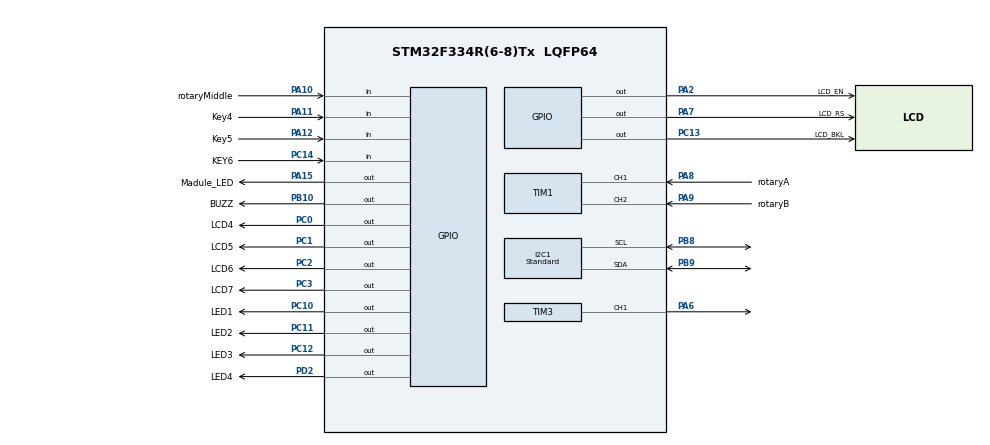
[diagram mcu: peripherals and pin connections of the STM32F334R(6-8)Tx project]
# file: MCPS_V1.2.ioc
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I2C1.I2C_Coeff_DF=5
I2C1.I2C_Speed_Mode=I2C_Standard
I2C1.Timing=0x00101827
Mcu.Family=STM32F3
Mcu.Name=STM32F334R(6-8)Tx
Mcu.Package=LQFP64
NVIC.PriorityGroup=NVIC_PRIORITYGROUP_4
NVIC.TIM3_IRQn=true\:0\:0\:false\:false\:true\:true\:true\:true
NVIC.TIM6_DAC1_IRQn=true\:15\:0\:false\:false\:true\:false\:true\:true
NVIC.TIM7_DAC2_IRQn=true\:0\:0\:false\:false\:true\:true\:true\:true
NVIC.TimeBase=TIM6_DAC1_IRQn
NVIC.TimeBaseIP=TIM6
PA10.GPIO_Label=rotaryMiddle
PA10.GPIO_PuPd=GPIO_PULLUP
PA10.Signal=GPIO_Input
PA11.GPIO_Label=Key4
PA11.GPIO_PuPd=GPIO_PULLUP
PA11.Signal=GPIO_Input
PA12.GPIO_Label=Key5
PA12.GPIO_PuPd=GPIO_PULLUP
PA12.Signal=GPIO_Input
PA13.Mode=Trace_Asynchronous_SW
PA13.Signal=SYS_JTMS-SWDIO
PA14.Mode=Trace_Asynchronous_SW
PA14.Signal=SYS_JTCK-SWCLK
PA15.GPIO_Label=Madule_LED
PA15.GPIO_PuPd=GPIO_PULLDOWN
PA15.Signal=GPIO_Output
PA2.GPIO_Label=LCD_EN
PA2.Signal=GPIO_Output
PA6.Signal=S_TIM3_CH1
PA7.GPIO_Label=LCD_RS
PA7.Signal=GPIO_Output
PA8.GPIO_Label=rotaryA
PA8.Signal=S_TIM1_CH1
PA9.GPIO_Label=rotaryB
PA9.Signal=S_TIM1_CH2
PB10.GPIO_Label=BUZZ
PB10.Signal=GPIO_Output
PB3.Mode=Trace_Asynchronous_SW
PB3.Signal=SYS_JTDO-TRACESWO
PB8.Mode=I2C
PB8.Signal=I2C1_SCL
PB9.Mode=I2C
PB9.Signal=I2C1_SDA
PC0.GPIO_Label=LCD4
PC0.Signal=GPIO_Output
PC1.GPIO_Label=LCD5
PC1.Signal=GPIO_Output
PC10.GPIO_Label=LED1
PC10.GPIO_PuPd=GPIO_PULLDOWN
PC10.Signal=GPIO_Output
PC11.GPIO_Label=LED2
PC11.GPIO_PuPd=GPIO_PULLDOWN
PC11.Signal=GPIO_Output
PC12.GPIO_Label=LED3
PC12.GPIO_PuPd=GPIO_PULLDOWN
PC12.Signal=GPIO_Output
PC13.GPIO_Label=LCD_BKL
PC13.GPIO_PuPd=GPIO_PULLDOWN
PC13.Signal=GPIO_Output
PC14\ /\ OSC32_IN.GPIO_Label=KEY6
PC14\ /\ OSC32_IN.GPIO_PuPd=GPIO_PULLUP
PC14\ /\ OSC32_IN.Signal=GPIO_Input
PC2.GPIO_Label=LCD6
PC2.Signal=GPIO_Output
PC3.GPIO_Label=LCD7
PC3.Signal=GPIO_Output
PD2.GPIO_Label=LED4
PD2.GPIO_PuPd=GPIO_PULLDOWN
PD2.Signal=GPIO_Output
PF0\ /\ OSC_IN.Mode=HSE-External-Oscillator
PF0\ /\ OSC_IN.Signal=RCC_OSC_IN
PF1\ /\ OSC_OUT.Mode=HSE-External-Oscillator
PF1\ /\ OSC_OUT.Signal=RCC_OSC_OUT
ProjectManager.HeapSize=0x200
ProjectManager.StackSize=0x400
ProjectManager.TargetToolchain=STM32CubeIDE
RCC.AHBFreq_Value=72000000
RCC.APB1CLKDivider=RCC_HCLK_DIV2
RCC.APB1Freq_Value=36000000
RCC.APB1TimFreq_Value=72000000
RCC.APB2Freq_Value=72000000
RCC.APB2TimFreq_Value=72000000
RCC.CortexFreq_Value=72000000
RCC.HCLKFreq_Value=72000000
RCC.HSE_VALUE=8000000
RCC.HSI_VALUE=8000000
RCC.LSE_VALUE=32768
RCC.PLLMUL=RCC_PLL_MUL9
RCC.PLLSourceVirtual=RCC_PLLSOURCE_HSE
RCC.SYSCLKFreq_VALUE=72000000
RCC.SYSCLKSourceVirtual=RCC_SYSCLKSOURCE_PLLCLK
SH.S_TIM1_CH1.0=TIM1_CH1,Encoder_Interface
SH.S_TIM1_CH2.0=TIM1_CH2,Encoder_Interface
SH.S_TIM3_CH1.0=TIM3_CH1,PWM Generation1 CH1
TIM1.AutoReloadPreload=TIM_AUTORELOAD_PRELOAD_DISABLE
TIM1.ClockDivision=TIM_CLOCKDIVISION_DIV1
TIM1.CounterMode=TIM_COUNTERMODE_UP
TIM1.EncoderMode=TIM_ENCODERMODE_TI12
TIM1.IC1Filter=5
TIM1.IC1Polarity=TIM_ICPOLARITY_FALLING
TIM1.IC1Prescaler=TIM_ICPSC_DIV1
TIM1.IC2Filter=5
TIM1.IC2Polarity=TIM_ICPOLARITY_FALLING
TIM1.IC2Prescaler=TIM_ICPSC_DIV1
TIM3.AutoReloadPreload=TIM_AUTORELOAD_PRELOAD_ENABLE
TIM3.Channel-PWM\ Generation1\ CH1=TIM_CHANNEL_1
TIM3.OCMode_PWM-PWM\ Generation1\ CH1=TIM_OCMODE_PWM1
TIM3.Period=1000-1
TIM3.Prescaler=7200-1
TIM3.Pulse-PWM\ Generation1\ CH1=0
TIM7.AutoReloadPreload=TIM_AUTORELOAD_PRELOAD_ENABLE
TIM7.Period=1000-1
TIM7.Prescaler=72-1
VP_SYS_VS_tim6.Mode=TIM6
VP_TIM3_VS_ClockSourceINT.Mode=Internal
VP_TIM7_VS_ClockSourceINT.Mode=Enable_Timer
board=custom

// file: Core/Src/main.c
/* USER CODE BEGIN Header */
/**
  ******************************************************************************
  * @file           : main.c
  * @brief          : Main program body
  ******************************************************************************
  * @attention
  *
  * Copyright (c) 2024 STMicroelectronics.
  * All rights reserved.
  *
  * This software is licensed under terms that can be found in the LICENSE file
  * in the root directory of this software component.
  * If no LICENSE file comes with this software, it is provided AS-IS.
  *
  ******************************************************************************
  */
/* USER CODE END Header */
#include "main.h"

/* USER CODE BEGIN Includes */
#include <stdint.h>
#include <stdio.h>
#include <string.h>
#include <stdlib.h>
#include <stdbool.h>
#include <math.h>
#include "LCD.h"
#include "button.h"
#include "Menu.h"
#include "eeprom.h"
/* USER CODE END Includes */

/* USER CODE BEGIN PD */
#define LED1_SET(x) HAL_GPIO_WritePin(GPIOC, GPIO_PIN_10, x)
#define LED2_SET(x) HAL_GPIO_WritePin(GPIOC, GPIO_PIN_11, x)
#define LED3_SET(x) HAL_GPIO_WritePin(GPIOC, GPIO_PIN_12, x)
#define LED4_SET(x) HAL_GPIO_WritePin(GPIOD, GPIO_PIN_2, x)
#define BUZZ_SET(x) HAL_GPIO_WritePin(GPIOB, GPIO_PIN_10, x)
#define LCD_BL_SET(x) HAL_GPIO_WritePin(GPIOC, GPIO_PIN_13, x)

#define BUZZ_NUM	0
#define BUZZ_DELAY	1

#define Freq_CLK    72000000          //72 MHz
#define PWM_PSC     7200-1            //7200
#define PWM_CLK     Freq_CLK/(PWM_PSC+1)  //72 KHz

/* USER CODE END PD */

I2C_HandleTypeDef hi2c1;

TIM_HandleTypeDef htim1;
TIM_HandleTypeDef htim3;
TIM_HandleTypeDef htim7;

/* USER CODE BEGIN PV */
volatile uint8_t /* buttons_release, */ buttonMask;
extern  volatile uint8_t buttons_release;

/* holds the current variable, according to "menu.h" */
uint8_t variable;
volatile uint8_t nextState;// volatile for avoid of optimizing for debug program

// uint8_t currentVariable;// holds the current variable number in order to table, according to "menu.h"
uint8_t cursorLine;		// holds the cursor line, according to "menu.h"

const char* statetext[4];	     // Holds 4 const char pointer to display in lines of LCD.
uint8_t elementType[4];	         // Holds 4 types for values of each variable that display in lines of LCD.
ValueStruct *pValues[4];         // Holds 4 ValueStruct pointer that point to a value for each variable.

uint8_t reWarning = 1;  //for exhibition of warnings and DisplayRunMenu.
uint8_t refreshLcd;		//for refreshing LCD.
uint16_t errorVar = 0x00, warningVar = 0x00;		// Each bit of this variable corresponds to an error state.
uint8_t  scnd,minute,updateTime;  //Update Vmax every few minutes
uint8_t tapChangerState = 0; // Holds output of TapChanger() that represents if TapChanger() completed his job or no.
uint8_t lcdBuffer[20];
uint8_t showARMWELD=true;  // ARMWELD animation in standBy.
static char count1=0;
/* Timing flags.*/
volatile bool	flag1s,
				fupdate1s,
				flag10us,
				flag100us,
				flag1ms,
				flag10ms,
				flag100ms,
				flagRefreshValue500ms,
				flag300ms,
				flagADC10ms,
				flcd1s,
				fSlope100ms,
				flcd10ms,
				flcd100ms,
				f2lcd100ms,
				fLcdError500ms,
				flcd500ms,
				flcd300ms,
				flagUpdatePWM,
				flagSetPWM,
				flagCountRamp,
				flagRotaryCW=false,
				flagRotaryCCW=false;

//rotary CW/CCW diagnose variables
int32_t encoder_counter = 0;
int32_t last_count = 0;
int32_t diff = 0;

float VariableRamp = 0.1;
float StepRamp = 0.0;
uint16_t CountRamp = 0;
float Time_ON;
float Frequency;

static char enterFunction = 1;

/* Array to determine that the buzzer need to toggle.
 * this array consists of buzzer[0] = number of toggles
 *					  and buzzer[1] = delay between each toggle.
 * this array must be initialized when need to buzzer toggled.
 */
volatile uint8_t buzzer[2];

//const STATE_NEXTVARIABLE *pStateNextVar[4];
//const STATE_VARIABLE *pStateVar[4];
//const MENU_STATE *pStateMenu[4];

STATE_NEXTVARIABLE StateNextVar[15];
STATE_VARIABLE StateVar[8];
MENU_STATE StateMenu[5];

/* variables for store compare value of TCC1(the PWM timer).*/
uint16_t compareValue;

/* Strings that will show in value column in LCD.*/
const char NON[]	= "None";
const char LOW[]	= "LOW ";
const char MED[] 	= "MED ";
const char HIGH[]   = "HIGH";

/* in EEPROM for save recent value before shut down.*/
ValueStruct /*EEMEM*/ EEValues_Alfa[ NUMBER_OF_VARIABLES+1 ] = {
//	VARIABLE_VALUE						STRING_NUMBER				DOWN_LIMIT					  UP_LIMIT
	{.pText = { 0, 0},					.strNum = 0,				.downLimit = 0,				  .upLimit = 0},                /* This line is added for correction of difference between variable numbers(one based) and values arrays(zero based).*/
	{.pText = {NON, LOW, MED, HIGH},	.strNum = VOL_LEVEL_LOW,    .downLimit = VOL_LEVEL_NONE,  .upLimit = VOL_LEVEL_HIGH},	/* Voltage Value*/
	{.fval = 10.0f,												    .downLimit = 0.5f,	          .upLimit = 30.9f},		    /* Frq*/
	{.fval = 2.0f,													.downLimit = 0.1f,			  .upLimit = 4.9f},			    /* time*/
	{.fval = 5.0,				                                    .downLimit = 0.5f,	          .upLimit = 4.9f},		        /* Ramp*/
	{.ival = 10,													.downLimit = 1,	 			  .upLimit = 20},			    /* Rythm on*/
	{.ival = 10,			  	                                    .downLimit = 1,	              .upLimit = 20},	     	    /* Rythm off*/
};
ValueStruct /*EEMEM*/ EEValues_Beta[ NUMBER_OF_VARIABLES+1 ] = {
//	VARIABLE_VALUE						STRING_NUMBER				DOWN_LIMIT					  UP_LIMIT
	{.pText = { 0, 0},					.strNum = 0,				.downLimit = 0,				  .upLimit = 0},                /* This line is added for correction of difference between variable numbers(one based) and values arrays(zero based).*/
	{.pText = {NON, LOW, MED, HIGH},	.strNum = VOL_LEVEL_LOW,    .downLimit = VOL_LEVEL_NONE,  .upLimit = VOL_LEVEL_HIGH},	/* Voltage Value*/
	{.fval = 10.0f,												    .downLimit = 0.1f,			  .upLimit = 30.9f},		    /* Frq*/
	{.fval = 5.0f,													.downLimit = 0.1f,			  .upLimit = 20.9f},			/* time*/
	{.ival = 2,				                                        .downLimit = 1,	              .upLimit = 10},		        /* Ramp*/
	{.ival = 10,													.downLimit = 1,	 			  .upLimit = 20},			    /* Rythm on*/
	{.ival = 10,			  	                                    .downLimit = 1,	              .upLimit = 20},	     	    /* Rythm off*/
};
ValueStruct /*EEMEM*/ EEValues_Teta[ NUMBER_OF_VARIABLES+1 ] = {
//	VARIABLE_VALUE						STRING_NUMBER				DOWN_LIMIT					  UP_LIMIT
	{.pText = { 0, 0},					.strNum = 0,				.downLimit = 0,				  .upLimit = 0},                /* This line is added for correction of difference between variable numbers(one based) and values arrays(zero based).*/
	{.pText = {NON, LOW, MED, HIGH},	.strNum = VOL_LEVEL_LOW,    .downLimit = VOL_LEVEL_NONE,  .upLimit = VOL_LEVEL_HIGH},	/* Voltage Value*/
	{.fval = 10.0f,												    .downLimit = 0.1f,			  .upLimit = 30.9f},		    /* Frq*/
	{.fval = 5.0f,													.downLimit = 0.1f,			  .upLimit = 20.9f},			/* time*/
	{.ival = 3,				                                        .downLimit = 1,	              .upLimit = 10},		        /* Ramp*/
	{.ival = 10,													.downLimit = 1,	 			  .upLimit = 20},			    /* Rythm on*/
	{.ival = 10,			  	                                    .downLimit = 1,	              .upLimit = 20},	     	    /* Rythm off*/
};
ValueStruct /*EEMEM*/ EEValues_Delta[ NUMBER_OF_VARIABLES+1 ] = {
//	VARIABLE_VALUE						STRING_NUMBER				DOWN_LIMIT					  UP_LIMIT
	{.pText = { 0, 0},					.strNum = 0,				.downLimit = 0,				  .upLimit = 0},                /* This line is added for correction of difference between variable numbers(one based) and values arrays(zero based).*/
	{.pText = {NON, LOW, MED, HIGH},	.strNum = VOL_LEVEL_LOW,    .downLimit = VOL_LEVEL_NONE,  .upLimit = VOL_LEVEL_HIGH},	/* Voltage Value*/
	{.fval = 10.0f,												    .downLimit = 0.1f,			  .upLimit = 30.9f},		    /* Frq*/
	{.fval = 5.0f,													.downLimit = 0.1f,			  .upLimit = 20.9f},			/* time*/
	{.ival = 4,				                                        .downLimit = 1,	              .upLimit = 10},		        /* Ramp*/
	{.ival = 10,													.downLimit = 1,	 			  .upLimit = 20},			    /* Rythm on*/
	{.ival = 10,			  	                                    .downLimit = 1,	              .upLimit = 20},	     	    /* Rythm off*/
};
ValueStruct /*EEMEM*/ EEValues_Gama[ NUMBER_OF_VARIABLES+1 ] = {
//	VARIABLE_VALUE						STRING_NUMBER				DOWN_LIMIT					  UP_LIMIT
	{.pText = { 0, 0},					.strNum = 0,				.downLimit = 0,				  .upLimit = 0},                /* This line is added for correction of difference between variable numbers(one based) and values arrays(zero based).*/
	{.pText = {NON, LOW, MED, HIGH},	.strNum = VOL_LEVEL_LOW,    .downLimit = VOL_LEVEL_NONE,  .upLimit = VOL_LEVEL_HIGH},	/* Voltage Value*/
	{.fval = 10.0f,												    .downLimit = 0.1f,			  .upLimit = 30.9f},		    /* Frq*/
	{.fval = 5.0f,													.downLimit = 0.1f,			  .upLimit = 20.9f},			/* time*/
	{.ival = 5,				                                        .downLimit = 1,	              .upLimit = 10},		        /* Ramp*/
	{.ival = 10,													.downLimit = 1,	 			  .upLimit = 20},			    /* Rythm on*/
	{.ival = 10,			  	                                    .downLimit = 1,	              .upLimit = 20},	     	    /* Rythm off*/
};
ValueStruct /*EEMEM*/ EEValues_Custom[ NUMBER_OF_VARIABLES+1 ] = {
//	VARIABLE_VALUE						STRING_NUMBER				DOWN_LIMIT					  UP_LIMIT
	{.pText = { 0, 0},					.strNum = 0,				.downLimit = 0,				  .upLimit = 0},                /* This line is added for correction of difference between variable numbers(one based) and values arrays(zero based).*/
	{.pText = {NON, LOW, MED, HIGH},	.strNum = VOL_LEVEL_LOW,    .downLimit = VOL_LEVEL_NONE,  .upLimit = VOL_LEVEL_HIGH},	/* Voltage Value*/
	{.fval = 10.0f,												    .downLimit = 0.1f,			  .upLimit = 30.9f},		    /* Frq*/
	{.fval = 5.0f,													.downLimit = 0.1f,			  .upLimit = 20.9f},			/* time*/
	{.ival = 6,				                                        .downLimit = 1,	              .upLimit = 10},		        /* Ramp*/
	{.ival = 10,													.downLimit = 1,	 			  .upLimit = 20},			    /* Rythm on*/
	{.ival = 10,			  	                                    .downLimit = 1,	              .upLimit = 20},	     	    /* Rythm off*/
};

/* USER CODE END PV */

void SystemClock_Config(void);
static void MX_GPIO_Init(void);
static void MX_TIM1_Init(void);
static void MX_TIM3_Init(void);
static void MX_TIM7_Init(void);
static void MX_I2C1_Init(void);

/* USER CODE BEGIN 0 */
char ContactUs( char input )
{
	static uint8_t enterFunction = 1;
	if ( enterFunction==1 )
	{
		LCD_Clear();
		LCD_Puts(1,LCD_LINE1, "Tel:021-66760674");
		LCD_Puts(1,LCD_LINE2, "Tel:09191143937");
		LCD_Puts(1,LCD_LINE3, "website");
		LCD_Puts(2,LCD_LINE4, "Nekoorad.com");
	}
	enterFunction=0;
	if (input == KEY_STANDBY)
	{
		enterFunction = 1;
		return ST_STANDBY;
	}
	else if (input==KEY_BACK)
	{
		refreshLcd = true;  // atention to DisplyRunMenu	function
		variable = ST_CHANGE_MENU;
		enterFunction = 1;
		return ST_MAIN_STATE;
	}

 	return ST_CONTACT_US;
}

static inline void ToggleBuzzer(volatile uint8_t buzzer[2])
{
	static uint8_t number = 0;
	static uint8_t count10ms = 0;

	if ( count10ms == 0 ) /* buzzer[BUZZ_DELAY]/10 = number of count10ms */
	{
		if ( number < buzzer[BUZZ_NUM]*2)	/* buzzer[BUZZ_NUM]*2 = number of (buzzer_off + buzzer_on) BUT
											   buzzer[BUZZ_NUM]	  = number of buzzer_on */
		{
			//BUZZ_TGL;
			HAL_GPIO_TogglePin(GPIOB,GPIO_PIN_10);
			number++;
			count10ms = (buzzer[BUZZ_DELAY]/10);
		}
		else
		{
			HAL_GPIO_WritePin(GPIOB, GPIO_PIN_10, GPIO_PIN_RESET);
			number = 0;
			count10ms = 0;
			buzzer[BUZZ_NUM] = 0;
			buzzer[BUZZ_DELAY] = 0;
		}
	}

	if (buzzer[BUZZ_NUM])
	{
		count10ms--;
	}
}

// It draws lines in lcd.
void HLine (char x, char y, uint8_t KindofLine,char mem8)
{
	 LCD_CreateChar(mem8,line[KindofLine]);
	 LCD_CursorSet(x,y);
	 LCD_Data(mem8);
}

// It shows weld animation.
void WeldDisplay(void)
{
	 uint8_t ArcNumber=0;
	 while (ArcNumber<5)
	 {
		 if (flcd100ms)
		 {
			 LCD_CreateChar(LCD_Mem7,arcSymbol[ArcNumber]);
			 LCD_CursorSet(10,LCD_LINE1);
			 LCD_Data(LCD_Mem7);
			 ArcNumber++;
			 flcd100ms=false;
		 }

	 }
}

/*! \brief This function displays LCD texts.
 *
 *	This function displays LCD texts each 500 mS or if when a change in data occurs.
 *
 */
static inline void DisplayRunMenu(void)
{
	char lcdBuffer[12];

	if ( flagRefreshValue500ms == true )
	{
		for ( uint8_t n = 0 ; n < 4 ; n++)
		{
			/* Display values */
			switch(elementType[n])
			{
				case ET_FLT:	sprintf(lcdBuffer, "%-4.1f", pValues[n]->fval);
								LCD_Puts(14,n, lcdBuffer);
								break;

				case ET_INT:
					            sprintf(lcdBuffer, "%-3d", pValues[n]->ival);
								LCD_Puts(14,n, lcdBuffer);
								break;

				case ET_FSTR:
					            LCD_Puts(14,n, pValues[n]->pText[pValues[n]->strNum]);
								break;

				/*case ET_ULNG:	sprintf(lcdBuffer, "%lu", pValues[n]->ulval);
								LCD_Puts(14,n, lcdBuffer);
								break;*/

			}
			flagRefreshValue500ms = false;
		}
	}

	// Plain menu text
	if (refreshLcd == true)
	{
		LCD_Clear();
		LCD_CursorSet(0,cursorLine);
		LCD_Data(0x7E);  //  "->" character

		for ( uint8_t n = 0 ; n < 4 ; n++)
		{
			// refresh lcd.
			LCD_Puts(1,n, statetext[n]);

			/* Display values */
			switch(elementType[n])
			{
				case ET_FLT:	sprintf(lcdBuffer, "%-4.1f", pValues[n]->fval);
								LCD_Puts(14,n, lcdBuffer);
								break;

				case ET_INT:	sprintf(lcdBuffer, "%-3d", pValues[n]->ival);
								LCD_Puts(14,n, lcdBuffer);
								break;

				case ET_FSTR:	LCD_Puts(14,n, pValues[n]->pText[pValues[n]->strNum]);
								break;

				/*case ET_ULNG:	sprintf(lcdBuffer, "%lu", pValues[n]->ulval);
				                LCD_Puts(14,n, lcdBuffer);
								break;*/

			}
		}

		refreshLcd = false;
	}
}

 /*! \brief This function shifts between the different variables.
  *
  * \param state			Current state.
  * \param stimuli		Button input.
  * \param cursorLine	Pointer for save next cursor line to it.
  *
  * \return nextVariable    next state according to the current state and button input.
  */
unsigned char VariableMachine(unsigned char stimuli)
 {
 	unsigned char nextVariable = variable;    // Default stay in same state
 	unsigned char i, j;
 	uint8_t cursorBuffer;

 	for (i=0; ( j=StateNextVar[i].variable) ; i++ )
 	{
 		if ( j == variable &&
 				StateNextVar[i].input== stimuli)

 			{
 			nextVariable = StateNextVar[i].nextVariable;

 			cursorBuffer = StateNextVar[i].cursorLine;

 			if ( cursorBuffer != LCD_LINE_RECENT )
 			cursorLine = cursorBuffer;

 			break;
 		}
 	}

 	return nextVariable;
 }

char StandBy(char input)
{
	static char x1_dot=0/*,count1=0*/;

	static uint8_t	enterFunction = 1;

	if ( enterFunction==1 )
	{
		buzzer[BUZZ_NUM] = 1;
		buzzer[BUZZ_DELAY] = 255;
		enterFunction =0;
	}

	if(reWarning == 0 || warningVar == 0)	//need for show after some second warning occured or not any warnings.
	{
			if(f2lcd100ms)
			{

				// display animation of medinalTeb first time when turn on after that show "STANDBY"
				if (x1_dot>=6 && count1<19)
				{
					count1++;
					if(count1<=5)
					{
						HLine(9+count1,LCD_LINE3,LCD_UpLine,LCD_Mem0);
						HLine(10-count1,LCD_LINE3,LCD_UpLine,LCD_Mem0);
					}
					else if (count1==6)
					{
						HLine(9+count1,LCD_LINE2,LCD_RightLine,LCD_Mem1);
						HLine(10-count1,LCD_LINE2,LCD_LeftLine,LCD_Mem2);
					}
					else if (count1<=11)
					{
						HLine(21-count1,LCD_LINE1,LCD_DownLine,LCD_Mem3);
						HLine(count1-2,LCD_LINE1,LCD_DownLine,LCD_Mem3);
					}
					else if (count1<=12)
					WeldDisplay();

				}
				else if (count1==19)
				{
					LCD_Clear();
					LCD_Puts(7,LCD_LINE2, "STANDBY");
					showARMWELD=false;
//					WELD_FAN_OFF;   // turn off fan when ARMWELD animation finish.
					count1++;  // it runs just first time this (if).
				}
				f2lcd100ms=false;
			}

			if (flcd500ms )
			{
				if (showARMWELD==true)
				{
//					WELD_FAN_ON;   // turn on fan when the device  is turning on.
					if(x1_dot<6)
					{
						LCD_Clear();
						x1_dot++;
					}
					LCD_Puts(x1_dot,1, "NEKOO");
					LCD_Puts((17-x1_dot),1, "RAD");
				}

				flcd500ms= false;
			}

	}
 	if ( input == KEY_STANDBY )
	{
		enterFunction = 1;
		showARMWELD=false;  // because of don't show ARMWELD when come from RunMeno.
 		return ST_MAIN_STATE;
	}

 	return ST_STANDBY;
}

char MainMenu(char input)
{
	uint8_t j;
	static uint8_t nextVariable = VA_FIRST_VARIABLE;
	static uint8_t cursor_variable;
	static uint8_t adjustState = ST_MAIN_STATE;
	static uint8_t cursor_main=0;
	//static char enterFunction = 1;

	/*if (values[VA_WAVE_TYPE].strNum == VOL_LEVEL_NONE )
	{

	}*/

	if ( nextVariable != variable )
	{
		variable = nextVariable;
		refreshLcd = true;  // atention to DisplyRunMenu	function
		for ( uint8_t currentVariable = 0; (j=StateVar[currentVariable].variable); currentVariable++ )
		{
			/* macro to determine which variable must be displayed in first line in LCD. */
			#define FIRST_LINE_VAR		currentVariable-cursorLine

			if ( j == variable )
			{
				adjustState = StateVar[currentVariable].adjustState;
				for ( uint8_t n = 0 ; n<4 ; n++ )
				{
					statetext[n]  = StateVar[FIRST_LINE_VAR +n].pText;
					elementType[n] = StateVar[FIRST_LINE_VAR +n].elementType;
					pValues[n] = (ValueStruct*)StateVar[FIRST_LINE_VAR +n].pValueStruct;
				}
				break;
			}
		}
		if( reWarning == 0 || warningVar == 0 )	//need for show after some second warning occured or not any warnings.
			DisplayRunMenu();
	}
	if ( input == KEY_STANDBY && StateVar[cursorLine].IndexMenu == First_Menu )
	{
		count1=19;
		nextVariable = VA_FIRST_VARIABLE;
		cursorLine = LCD_LINE1;
		variable=VA_SECOND_VARIABLE;
		return ST_STANDBY;
	}
	else if ( input == KEY_ACCEPT )
	{
		if( StateVar[cursorLine].IndexMenu == First_Menu )
		{
			if( adjustState == ST_CONTACT_US )
				return adjustState;
			else
			{
				if( variable==MAIN_Alfa )
				{
					memcpy(&StateVar, &stateVariable_Alfa, sizeof(stateVariable_Alfa));
					Frequency = values_Alfa[2].fval;
					Time_ON = values_Alfa[3].fval;
					StepRamp = (values_Alfa[4].fval * 1000)/1.000;
				}
				else if( variable==MAIN_Beta )
					memcpy(&StateVar, &stateVariable_Beta, sizeof(stateVariable_Beta));
				else if( variable==MAIN_Teta )
					memcpy(&StateVar, &stateVariable_Teta, sizeof(stateVariable_Teta));
				else if( variable==MAIN_Delta )
					memcpy(&StateVar, &stateVariable_Delta, sizeof(stateVariable_Delta));
				else if( variable==MAIN_Gama )
					memcpy(&StateVar, &stateVariable_Gama, sizeof(stateVariable_Gama));
				else if( variable==MAIN_Custom )
					memcpy(&StateVar, &stateVariable_Custom, sizeof(stateVariable_Custom));

				memcpy(&StateNextVar, &state_nextVariable, sizeof(state_nextVariable));
				//memcpy(&StateVar, &stateVariable, sizeof(stateVariable));
				memcpy(&StateMenu, &menuState, sizeof(menuState));
				nextVariable = VA_EIGHTH_VARIABLE;
				cursor_main = cursorLine;
				cursorLine = LCD_LINE1;
				cursor_variable = variable;
				return (adjustState);
			}
		}
		else
		{
			return adjustState;
		}
	}
	else if ( input == KEY_BACK )
	{
		memcpy(&StateNextVar, &main_state_nextVariable, sizeof(main_state_nextVariable));
		memcpy(&StateVar, &main_stateVariable, sizeof(main_stateVariable));
		memcpy(&StateMenu, &main_menuState, sizeof(main_menuState));
		cursorLine = cursor_main;
		//nextVariable = cursorLine+1;
	    nextVariable = cursor_variable;
		return ST_MAIN_STATE;
	}
	else if ( input == KEY_START )
	{
		if( StateVar[cursorLine].IndexMenu != First_Menu )
		{
			// Act like Start Buttom
			if ( enterFunction == 1 )  // If it is the first time the button is pushed and the variables of frequency and time-on(duty cycle) are set
			{
				HAL_TIM_PWM_Start_IT(&htim3, TIM_CHANNEL_1);
				LED1_SET(1);
				flagUpdatePWM = true; // set variable of frequency and duty cycle of PWM on TIM3 Intrupt
				enterFunction = 0;
			}
			//Act like Stop Buttom
			else
			{
				HAL_TIM_PWM_Stop_IT(&htim3, TIM_CHANNEL_1);
				LED1_SET(0);
				enterFunction = 1;
			}
		}
		return ST_MAIN_STATE;
	}
	else if ( input != KEY_NULL )
	{
		// Plain menu, clock the state machine
		nextVariable = VariableMachine(input);
	}

	return ST_MAIN_STATE;
}

/*! \brief This function adjusts integer values.
 *
 * \param input			Buttons state after debouncig.
 *
 * \return nextState    next state according to the current state and button input.
 */
char IntAdjust(char input)
{
	int16_t valueIA;
    uint8_t j=1;
	static char enterFunction = 1;

	char lcdBufferIA[15];

	if ( enterFunction==1 )
	{
		//pValues[cursorLine]->ival=values[cursorLine+1].ival;
		TIM1->CNT = (pValues[cursorLine]->ival)*ROTARY_SPC;       //The amount of variable(that cursor point it)  return to CNT of timer or QDEC .
		enterFunction = 0;
	}
	LCD_CreateChar(0,updownCharacter);// "<>" character
	LCD_CursorSet(13,cursorLine);
	LCD_Data(0);  //  "<>" character

	/* Check timer valueIA to be in range. */
	valueIA = (int16_t)TIM1->CNT/ROTARY_SPC;// int16_t to avoid of roll over timer valueIA from bottom to top.

	if( valueIA > (int16_t)pValues[cursorLine]->upLimit )
		TIM1->CNT = (int16_t)pValues[cursorLine]->upLimit*ROTARY_SPC;

	else if ( valueIA < (int16_t)pValues[cursorLine]->downLimit )
		TIM1->CNT = (int16_t)pValues[cursorLine]->downLimit*ROTARY_SPC;

	sprintf(lcdBufferIA,"%-3d", TIM1->CNT/ROTARY_SPC);
	LCD_Puts(14,cursorLine, lcdBufferIA);

	switch (input)
	{
		case KEY_ACCEPT:
			pValues[cursorLine]->ival = TIM1->CNT/ROTARY_SPC;

			if( StateVar[cursorLine].IndexMenu == Second_Menu_1 ) //if we are in sub menu Alfa:
			{
				for(uint8_t i=1; i<=NUMBER_OF_VARIABLES; i++)
				{
					EEPROM_Write(i,0, (uint8_t*)&values_Alfa[i], sizeof(ValueStruct));
				}
			}
			else if(StateVar[cursorLine].IndexMenu==Second_Menu_2)
			{
				for(uint8_t i=(1+(1*NUMBER_OF_VARIABLES)); i<=(2*NUMBER_OF_VARIABLES); i++)
				{
				    EEPROM_Write(i,0, (uint8_t*)&values_Beta[j], sizeof(ValueStruct));
				    j++;
					if(j==7)
						j=1;
				}
			}
			else if(StateVar[cursorLine].IndexMenu==Second_Menu_3)
			{
				for(uint8_t i=(1+(2*NUMBER_OF_VARIABLES)); i<=(3*NUMBER_OF_VARIABLES); i++)
				{
					EEPROM_Write(i,0, (uint8_t*)&values_Teta[j], sizeof(ValueStruct));
					j++;
					if(j==7)
						j=1;
				}
			}
			else if(StateVar[cursorLine].IndexMenu==Second_Menu_4)
			{
				for(uint8_t i=(1+(3*NUMBER_OF_VARIABLES)); i<=(4*NUMBER_OF_VARIABLES); i++)
				{
					EEPROM_Write(i,0, (uint8_t*)&values_Delta[j], sizeof(ValueStruct));
					j++;
					if(j==7)
						j=1;
				}
			}
			else if(StateVar[cursorLine].IndexMenu==Second_Menu_5)
			{
				for(uint8_t i=(1+(4*NUMBER_OF_VARIABLES)); i<=(5*NUMBER_OF_VARIABLES); i++)
				{
					EEPROM_Write(i,0, (uint8_t*)&values_Gama[j], sizeof(ValueStruct));
					j++;
					if(j==7)
						j=1;
				}
			}
			else if(StateVar[cursorLine].IndexMenu==Second_Menu_6)
			{
				for(uint8_t i=(1+(5*NUMBER_OF_VARIABLES)); i<=(6*NUMBER_OF_VARIABLES); i++)
				{
					EEPROM_Write(i,0, (uint8_t*)&values_Custom[j], sizeof(ValueStruct));
					j++;
					if(j==7)
						j=1;
				}
			}
			enterFunction = 1;
			LCD_CursorSet(13,cursorLine);
			LCD_Data(0x20);  //  "blank" character
			return ST_MAIN_STATE;

		/*case KEY_BACK:
			enterFunction = 1;
			LCD_CursorSet(13,cursorLine);
			LCD_Data(0x20);  //  "blank" character
			return ST_MAIN_STATE;*/

		case KEY_STANDBY:
			enterFunction = 1;
			LCD_CursorSet(13,cursorLine);
			LCD_Data(0x20);  //  "blank" character
			return ST_STANDBY;
	}
	return ST_INT_ADJUST;
}

/*! \brief This function adjusts string values.
 *
 * \param input			Buttons state after debouncig.
 *
 * \return nextState    next state according to the current state and button input.
 */
char StringChange(char input)
{
	static char enterFunction = 1;
	static int8_t strNumTemp;
	if ( enterFunction==1 )
	{
		strNumTemp = pValues[cursorLine]->strNum;
		enterFunction = 0;
	}

	switch (input)
	{
		case ROTARY_CW_DIR:		strNumTemp ++;	break;

		case ROTARY_CCW_DIR:	strNumTemp --;	break;

		case KEY_ACCEPT:

			// store the temporary adjusted value to the global variable
			pValues[cursorLine]->strNum = strNumTemp;

			if(StateVar[cursorLine].IndexMenu==Second_Menu_1)
			{
				if ( variable == VA_VOLTAGE /*&& pValues[cursorLine]->strNum==VOL_LEVEL_LOW*/ )
				{
					//LED2_SET(1);
				}
				EEPROM_Write(1,0, (uint8_t*)&values_Alfa[1], sizeof(ValueStruct));
			}

			else if(StateVar[cursorLine].IndexMenu==Second_Menu_2)
			{
				EEPROM_Write((1+(1*NUMBER_OF_VARIABLES)),0, (uint8_t*)&values_Beta[1], sizeof(ValueStruct));
			}
			else if(StateVar[cursorLine].IndexMenu==Second_Menu_3)
			{
                EEPROM_Write((1+(2*NUMBER_OF_VARIABLES)),0, (uint8_t*)&values_Teta[1], sizeof(ValueStruct));
			}
			else if(StateVar[cursorLine].IndexMenu==Second_Menu_4)
			{
				EEPROM_Write((1+(3*NUMBER_OF_VARIABLES)),0, (uint8_t*)&values_Delta[1], sizeof(ValueStruct));
			}
			else if(StateVar[cursorLine].IndexMenu==Second_Menu_5)
			{
				EEPROM_Write((1+(4*NUMBER_OF_VARIABLES)),0, (uint8_t*)&values_Gama[1], sizeof(ValueStruct));
			}
			else if(StateVar[cursorLine].IndexMenu==Second_Menu_6)
			{
				EEPROM_Write((1+(5*NUMBER_OF_VARIABLES)),0, (uint8_t*)&values_Custom[1], sizeof(ValueStruct));
			}
			enterFunction = 1;
			LCD_CursorSet(13,cursorLine);
			LCD_Data(0x20);  //  "blank" character

			return ST_MAIN_STATE;

		/*case KEY_BACK:
			enterFunction = 1;
			LCD_CursorSet(13,cursorLine);
			LCD_Data(0x20);  //  "blank" character
			return ST_MAIN_STATE;*/

		case KEY_STANDBY:
			enterFunction = 1;
			LCD_CursorSet(13,cursorLine);
			LCD_Data(0x20);  //  "blank" character
			return ST_STANDBY;
	}

	LCD_CreateChar(0,updownCharacter);// "<>" character
	LCD_CursorSet(13,cursorLine);
	LCD_Data(0);  //  "<>" character

	if( strNumTemp > pValues[cursorLine]->upLimit )
	{
		strNumTemp = pValues[cursorLine]->upLimit;
	}
	else if ( strNumTemp < pValues[cursorLine]->downLimit )
	{
		strNumTemp = pValues[cursorLine]->downLimit;
	}
	LCD_Puts(14,cursorLine,pValues[cursorLine]->pText[strNumTemp]);

	return ST_STR_CHANGE;
}

/*! \brief This function adjusts float values.
 *
 * \param input			Buttons state after debouncig.
 *
 * \return nextState    next state according to the current state and button input.
 */
char FloatAdjust(char input)
{
    #define INTEGER_PART	0
    #define DECIMAL_PART	1
	static uint8_t mode = INTEGER_PART;
	static int FloatTemp[2];
	static char enterFunction = 1;
	uint8_t j=1;
	char lcdBufferIA[15];
    //int16_t UpLimit_DEC;
	int16_t DownLimit_DEC;

	if ( enterFunction==1 )
	{
		//FloatTemp[DECIMAL_PART] = modf(pValues[cursorLine]->fval, &FloatTemp[INTEGER_PART]);
		FloatTemp[INTEGER_PART] = (int) pValues[cursorLine]->fval;
		FloatTemp[DECIMAL_PART] = round((pValues[cursorLine]->fval - FloatTemp[INTEGER_PART])*10);

		//UpLimit_DEC = round((pValues[cursorLine]->upLimit - (int)pValues[cursorLine]->upLimit)*10);
		DownLimit_DEC = round((pValues[cursorLine]->downLimit - (int)pValues[cursorLine]->downLimit)*10);

		if (mode == INTEGER_PART)
		{
			TIM1->CNT = (int16_t)(FloatTemp[INTEGER_PART])*ROTARY_SPC;
		}
		/*else if ( mode == DECIMAL_PART)
		{
			TIM1->CNT = ((int16_t)(FloatTemp[DECIMAL_PART])*10)*ROTARY_SPC;
		}*/
		enterFunction = 0;
	}

	if (mode == INTEGER_PART)
	{
		FloatTemp[INTEGER_PART] = (int16_t)TIM1->CNT/ROTARY_SPC;
		if( FloatTemp[INTEGER_PART] > (int16_t)pValues[cursorLine]->upLimit )
			TIM1->CNT = (int16_t)pValues[cursorLine]->upLimit*ROTARY_SPC;

		else if ( FloatTemp[INTEGER_PART] < (int16_t)pValues[cursorLine]->downLimit )
			TIM1->CNT = (int16_t)pValues[cursorLine]->downLimit*ROTARY_SPC;

		LCD_CreateChar(0,updownCharacter);// "<>" character

		LCD_CursorSet(19,cursorLine);
		LCD_Data(0x20);  //  "blank" character

		LCD_CursorSet(13,cursorLine);
		LCD_Data(0);  //  "<>" character
	}
	else if (mode == DECIMAL_PART)
	{
		FloatTemp[DECIMAL_PART] = (int16_t)TIM1->CNT/ROTARY_SPC;
		if( FloatTemp[DECIMAL_PART] > 9 )
			TIM1->CNT = 9*ROTARY_SPC;

		else if ( FloatTemp[DECIMAL_PART] < 0 )
			TIM1->CNT = 0*ROTARY_SPC;

        //The value of the float number should not be below downlimit of the value
		else if ( FloatTemp[DECIMAL_PART] == 0 && FloatTemp[INTEGER_PART]==0 )
			TIM1->CNT = DownLimit_DEC*ROTARY_SPC;

		LCD_CreateChar(0,updownCharacter);// "<>" character

		LCD_CursorSet(19,cursorLine);
		LCD_Data(0);  //  "<>" character

		LCD_CursorSet(13,cursorLine);
		LCD_Data(0x20);  //  "blank" character
	}

	// store the temporary adjusted value to the global variable
	pValues[cursorLine]->fval = (FloatTemp[INTEGER_PART] + (FloatTemp[DECIMAL_PART]/10.0));
	sprintf(lcdBufferIA,"%-4.1f", pValues[cursorLine]->fval);
	LCD_Puts(14,cursorLine, lcdBufferIA);

	switch (input)
	{
		case ROTARY_CW_DIR:  FloatTemp[mode] ++;   break;

		case ROTARY_CCW_DIR:  FloatTemp[mode] --;	break;

		case KEY_ACCEPT:

			pValues[cursorLine]->fval = (FloatTemp[INTEGER_PART] + (FloatTemp[DECIMAL_PART]/10.0));
			if (mode == INTEGER_PART)
			{
				mode++;
				TIM1->CNT = (int16_t)(FloatTemp[DECIMAL_PART])*ROTARY_SPC;
				break;
			}
			else if (mode == DECIMAL_PART)
			{
				if ( variable == VA_FREQUENCY )
				{
					Frequency = (pValues[cursorLine]->fval)/1.000;
				}
				else if ( variable == VA_TIME )
				{
					Time_ON = (pValues[cursorLine]->fval/1.000);
				}
				else if ( variable == VA_RAMP /*&& pValues[cursorLine]->ival==3*/ )
				{
					StepRamp = (pValues[cursorLine]->fval * 1000)/1.000;
				}

				if ( enterFunction == 0 && variable != VA_RAMP) // change variables in the RUN time
					flagUpdatePWM = true;

				if(StateVar[cursorLine].IndexMenu==Second_Menu_1)
				{
					for(uint8_t i=1; i<=NUMBER_OF_VARIABLES; i++)
					{
						EEPROM_Write(i,0, (uint8_t*)&values_Alfa[i], sizeof(ValueStruct));
					}
				}
				else if(StateVar[cursorLine].IndexMenu==Second_Menu_2)
				{
					for(uint8_t i=(1+(1*NUMBER_OF_VARIABLES)); i<=(2*NUMBER_OF_VARIABLES); i++)
					{
					    EEPROM_Write(i,0, (uint8_t*)&values_Beta[j], sizeof(ValueStruct));
					    j++;
						if(j==7)
							j=1;
					}
				}
				else if(StateVar[cursorLine].IndexMenu==Second_Menu_3)
				{
					for(uint8_t i=(1+(2*NUMBER_OF_VARIABLES)); i<=(3*NUMBER_OF_VARIABLES); i++)
					{
						EEPROM_Write(i,0, (uint8_t*)&values_Teta[j], sizeof(ValueStruct));
						j++;
						if(j==7)
							j=1;
					}
				}
				else if(StateVar[cursorLine].IndexMenu==Second_Menu_4)
				{
					for(uint8_t i=(1+(3*NUMBER_OF_VARIABLES)); i<=(4*NUMBER_OF_VARIABLES); i++)
					{
						EEPROM_Write(i,0, (uint8_t*)&values_Delta[j], sizeof(ValueStruct));
						j++;
						if(j==7)
							j=1;
					}
				}
				else if(StateVar[cursorLine].IndexMenu==Second_Menu_5)
				{
					for(uint8_t i=(1+(4*NUMBER_OF_VARIABLES)); i<=(5*NUMBER_OF_VARIABLES); i++)
					{
						EEPROM_Write(i,0, (uint8_t*)&values_Gama[j], sizeof(ValueStruct));
						j++;
						if(j==7)
							j=1;
					}
				}
				else if(StateVar[cursorLine].IndexMenu==Second_Menu_6)
				{
					for(uint8_t i=(1+(5*NUMBER_OF_VARIABLES)); i<=(6*NUMBER_OF_VARIABLES); i++)
					{
						EEPROM_Write(i,0, (uint8_t*)&values_Custom[j], sizeof(ValueStruct));
						j++;
						if(j==7)
							j=1;
					}
				}

				mode = INTEGER_PART;
				enterFunction = 1;
				LCD_CursorSet(19,cursorLine);
				LCD_Data(0x20);  //  "blank" character
				return ST_MAIN_STATE;
			}

		/*case KEY_BACK:
			if (mode == DECIMAL_PART)
			{
				mode=INTEGER_PART;
				TIM1->CNT = (int16_t)(FloatTemp[INTEGER_PART])*ROTARY_SPC;
				break;
			}

			else
			{
				enterFunction = 1;
				LCD_CursorSet(13,cursorLine);
				LCD_Data(0x20);  //  "blank" character
				return ST_MAIN_STATE;
			}*/

		case KEY_STANDBY:
			enterFunction = 1;
			LCD_CursorSet(13,cursorLine);
			LCD_Data(0x20);  //  "blank" character
			return ST_STANDBY;
	}

	return ST_FLT_ADJUST;
}

//Write initial values  in external eeprom.
void  ValuInit_Write_EE(void)
{
	uint8_t j=1;
	for(uint8_t i=1; i<=NUMBER_OF_VARIABLES; i++)
	{
		EEPROM_Write(i,0, (uint8_t*)&EEValues_Alfa[i], sizeof(ValueStruct));
	}
	for(uint8_t i=(1+(1*NUMBER_OF_VARIABLES)); i<=(2*NUMBER_OF_VARIABLES); i++)
	{
		EEPROM_Write(i,0, (uint8_t*)&EEValues_Beta[j], sizeof(ValueStruct));
		j++;
		if(j==7)
			j=1;
	}
	for(uint8_t i=(1+(2*NUMBER_OF_VARIABLES)); i<=(3*NUMBER_OF_VARIABLES); i++)
	{
		EEPROM_Write(i,0, (uint8_t*)&EEValues_Teta[j], sizeof(ValueStruct));
		j++;
		if(j==7)
			j=1;
	}
	for(uint8_t i=(1+(3*NUMBER_OF_VARIABLES)); i<=(4*NUMBER_OF_VARIABLES); i++)
	{
		EEPROM_Write(i,0, (uint8_t*)&EEValues_Delta[j], sizeof(ValueStruct));
		j++;
		if(j==7)
			j=1;
	}
	for(uint8_t i=(1+(4*NUMBER_OF_VARIABLES)); i<=(5*NUMBER_OF_VARIABLES); i++)
	{
		EEPROM_Write(i,0, (uint8_t*)&EEValues_Gama[j], sizeof(ValueStruct));
		j++;
		if(j==7)
			j=1;
	}
	for(uint8_t i=(1+(5*NUMBER_OF_VARIABLES)); i<=(6*NUMBER_OF_VARIABLES); i++)
	{
		EEPROM_Write(i,0, (uint8_t*)&EEValues_Custom[j], sizeof(ValueStruct));
		j++;
		if(j==7)
			j=1;
	}
}

//Read initial values from external eeprom.
void ValuInit_Read_EE(void)
{
	uint8_t j=1;
	for(uint8_t i=1; i<=NUMBER_OF_VARIABLES; i++)
	{
		EEPROM_Read(i,0, (uint8_t*)&values_Alfa[i], sizeof(ValueStruct));
	}
	for(uint8_t i=(1+(1*NUMBER_OF_VARIABLES)); i<=(2*NUMBER_OF_VARIABLES); i++)
	{
		EEPROM_Read(i,0, (uint8_t*)&values_Beta[j], sizeof(ValueStruct));
		j++;
		if(j==7)
			j=1;
	}
	for(uint8_t i=(1+(2*NUMBER_OF_VARIABLES)); i<=(3*NUMBER_OF_VARIABLES); i++)
	{
		EEPROM_Read(i,0, (uint8_t*)&values_Teta[j], sizeof(ValueStruct));
		j++;
		if(j==7)
			j=1;
	}
	for(uint8_t i=(1+(3*NUMBER_OF_VARIABLES)); i<=(4*NUMBER_OF_VARIABLES); i++)
	{
		EEPROM_Read(i,0, (uint8_t*)&values_Delta[j], sizeof(ValueStruct));
		j++;
		if(j==7)
			j=1;
	}
	for(uint8_t i=(1+(4*NUMBER_OF_VARIABLES)); i<=(5*NUMBER_OF_VARIABLES); i++)
	{
		EEPROM_Read(i,0, (uint8_t*)&values_Gama[j], sizeof(ValueStruct));
		j++;
		if(j==7)
			j=1;
	}
	for(uint8_t i=(1+(5*NUMBER_OF_VARIABLES)); i<=(6*NUMBER_OF_VARIABLES); i++)
	{
		EEPROM_Read(i,0, (uint8_t*)&values_Custom[j], sizeof(ValueStruct));
		j++;
		if(j==7)
			j=1;
	}

	values_Alfa[1].pText[VOL_LEVEL_NONE] = NON;
	values_Alfa[1].pText[VOL_LEVEL_LOW] = LOW;
	values_Alfa[1].pText[VOL_LEVEL_MED] = MED;
	values_Alfa[1].pText[VOL_LEVEL_HIGH] = HIGH;

	values_Beta[1].pText[VOL_LEVEL_NONE] = NON;
	values_Beta[1].pText[VOL_LEVEL_LOW] = LOW;
	values_Beta[1].pText[VOL_LEVEL_MED] = MED;
	values_Beta[1].pText[VOL_LEVEL_HIGH] = HIGH;

	values_Teta[1].pText[VOL_LEVEL_NONE] = NON;
	values_Teta[1].pText[VOL_LEVEL_LOW] = LOW;
	values_Teta[1].pText[VOL_LEVEL_MED] = MED;
	values_Teta[1].pText[VOL_LEVEL_HIGH] = HIGH;

	values_Delta[1].pText[VOL_LEVEL_NONE] = NON;
	values_Delta[1].pText[VOL_LEVEL_LOW] = LOW;
	values_Delta[1].pText[VOL_LEVEL_MED] = MED;
	values_Delta[1].pText[VOL_LEVEL_HIGH] = HIGH;

	values_Gama[1].pText[VOL_LEVEL_NONE] = NON;
	values_Gama[1].pText[VOL_LEVEL_LOW] = LOW;
	values_Gama[1].pText[VOL_LEVEL_MED] = MED;
	values_Gama[1].pText[VOL_LEVEL_HIGH] = HIGH;

	values_Custom[1].pText[VOL_LEVEL_NONE] = NON;
	values_Custom[1].pText[VOL_LEVEL_LOW] = LOW;
	values_Custom[1].pText[VOL_LEVEL_MED] = MED;
	values_Custom[1].pText[VOL_LEVEL_HIGH] = HIGH;
}

void Set_Frequency(float frequency)
{
	/* Frequency_PWM = Frequency_CLK/((APRx+1)*(PSCx+1))
	 * Frequency_PWM = It is the input of function that user want to set
	 * Frequency_CLK = 72 MHz
	 * APRx = Auto-reload register
	 * PSCx = The value of prescaler */
	volatile static uint32_t PWM_APR;  //start PWM-Frequency with 100Hz
	PWM_APR = (PWM_CLK/frequency) - 1 ;
	TIM3->ARR = PWM_APR;
}

void Set_DutyCycle(float Ton)
{
	/* DutyCycle = CCRx/APRx = Ton/(Ton + Toff)
	 * CCRx = The value for compare */
	float dutycycle = (Ton/1000.000) * (Frequency/1.000);

	//assert(((dutycycle*100) >= 0.0F) && ((dutycycle*100) <= 100.0F));

	uint32_t newRegVal = (uint32_t)roundf((float)(TIM3->ARR + 1) * dutycycle);

    //In case of the dutycycle being calculated as higher than the reload register, cap it to the reload register
	if(newRegVal > TIM3->ARR)
		newRegVal = TIM3->ARR;

	TIM3->CCR1 = (uint32_t)(roundf(newRegVal));
	//__HAL_TIM_SET_COMPARE(&htim3, TIM_CHANNEL_1, TIM3->CCR1);
}

/* USER CODE END 0 */

int main(void)
{

  /* MCU Configuration--------------------------------------------------------*/

  /* Reset of all peripherals, Initializes the Flash interface and the Systick. */
  HAL_Init();

  /* Configure the system clock */
  SystemClock_Config();

  /* Initialize all configured peripherals */
  MX_GPIO_Init();
  MX_TIM1_Init();
  MX_TIM3_Init();
  MX_TIM7_Init();
  MX_I2C1_Init();
  /* USER CODE BEGIN 2 */

  /*first uncomment ValuInit_Write_EE() to write initial values,
  then comment it and upload the program again on the micro*/
  //ValuInit_Write_EE();
  ValuInit_Read_EE();

  // Initial values without eeprom
  /*values_Alfa[1] = EEValues_Alfa[1];
  values_Alfa[2] = EEValues_Alfa[2];
  values_Alfa[3] = EEValues_Alfa[3];
  values_Alfa[4] = EEValues_Alfa[4];
  values_Alfa[5] = EEValues_Alfa[5];
  values_Alfa[6] = EEValues_Alfa[6];

  values_Beta[1] = EEValues_Beta[1];
  values_Beta[2] = EEValues_Beta[2];
  values_Beta[3] = EEValues_Beta[3];
  values_Beta[4] = EEValues_Beta[4];
  values_Beta[5] = EEValues_Beta[5];
  values_Beta[6] = EEValues_Beta[6];

  values_Teta[1] = EEValues_Teta[1];
  values_Teta[2] = EEValues_Teta[2];
  values_Teta[3] = EEValues_Teta[3];
  values_Teta[4] = EEValues_Teta[4];
  values_Teta[5] = EEValues_Teta[5];
  values_Teta[6] = EEValues_Teta[6];

  values_Delta[1] = EEValues_Delta[1];
  values_Delta[2] = EEValues_Delta[2];
  values_Delta[3] = EEValues_Delta[3];
  values_Delta[4] = EEValues_Delta[4];
  values_Delta[5] = EEValues_Delta[5];
  values_Delta[6] = EEValues_Delta[6];

  values_Gama[1] = EEValues_Gama[1];
  values_Gama[2] = EEValues_Gama[2];
  values_Gama[3] = EEValues_Gama[3];
  values_Gama[4] = EEValues_Gama[4];
  values_Gama[5] = EEValues_Gama[5];
  values_Gama[6] = EEValues_Gama[6];

  values_Custom[1] = EEValues_Custom[1];
  values_Custom[2] = EEValues_Custom[2];
  values_Custom[3] = EEValues_Custom[3];
  values_Custom[4] = EEValues_Custom[4];
  values_Custom[5] = EEValues_Custom[5];
  values_Custom[6] = EEValues_Custom[6];*/

  //start encoder timer 1 for reading rotary encoder
  HAL_TIM_Encoder_Start(&htim1, TIM_CHANNEL_ALL);

  //create different flags base on 1ms timer 7
  //__HAL_TIM_ENABLE_IT(&htim7, TIM_IT_UPDATE );
  HAL_TIM_Base_Start_IT(&htim7);

  //create PWM and change Frequency and Duty Cycle
  __HAL_TIM_ENABLE_IT(&htim3, TIM_IT_UPDATE );
  //HAL_TIM_PWM_Start_IT(&htim3, TIM_CHANNEL_1);
  //Set_Frequency(Frequency);
  //Set_DutyCycle(DutyCycle);

  volatile char input;// holds the current keys state.
  uint8_t j;

  char (*pStateFunc)(char);
  // Initial state variables
  uint8_t state = ST_STANDBY;
  pStateFunc = StandBy;

  memcpy(&StateNextVar, &main_state_nextVariable, sizeof(main_state_nextVariable));
  memcpy(&StateVar, &main_stateVariable, sizeof(main_stateVariable));
  memcpy(&StateMenu, &main_menuState, sizeof(main_menuState));

  LCD_Init();
  LCD_Clear();
  LCD_DisplayOn();
  LCD_BL_SET(1);
  //uint8_t Blink =1;

  /*char lcdBufferIA[15];
  uint8_t Number=0;
  int16_t UpLimit_DEC = round((EEValues_Alfa[2].downLimit - (int)EEValues_Alfa[2].downLimit)*10);
  sprintf(lcdBufferIA,"%-3d", UpLimit_DEC);
  LCD_Puts(1,0, lcdBufferIA);*/
  /* USER CODE END 2 */

  /* Infinite loop */
  /* USER CODE BEGIN WHILE */
  while (1)
  {
	  /*if (fLcdError500ms==true)
	  {

		  if (Blink == 1)
		  {
		     LCD_BL_SET(0);
		     Blink=2;
		  }
		  else if(Blink == 2)
		  {
			  LCD_BL_SET(1);
			  Blink=1;
		  }

		  fLcdError500ms=false;
	  }*/
		encoder_counter = __HAL_TIM_GET_COUNTER(&htim1)/4;
		diff = encoder_counter - last_count;  // Calculate the difference between the current count and the last count

		if (diff != 0)
		{
			if (diff > 0)
			{
				flagRotaryCW = true; //Clockwise rotation
				flagRotaryCCW = false;
			}
			else if (diff < 0)
			{
				flagRotaryCW = false;
				flagRotaryCCW = true; //Counter-clockwise rotation
			}

			last_count = encoder_counter; //Update the last count
		}

		if ( flag10ms == true )
		{
			debounce();  // Update button_state.

			//if (buzzer[BUZZ_NUM])
				//ToggleBuzzer(buzzer);

			flag10ms = false;
		}

		if ( flag1ms == true && flagSetPWM == true )
		{
			CountRamp++;
			if( CountRamp > StepRamp )
			{
				CountRamp = 0;
				flagSetPWM = false;
				//Set_DutyCycle(DutyCycle);
			}
			else
			    Set_DutyCycle( (Time_ON/StepRamp) * CountRamp );

			flag1ms = false;
		}
	  debounce();
	  HAL_Delay(10);
		// Read input and change states
		buttonMask=KEY_MASK;
		buttonMask &= buttons_release;
		buttons_release ^= buttonMask;
		input = buttonMask | ((flagRotaryCCW*ROTARY_CCW_DIR)) | ((flagRotaryCW*ROTARY_CW_DIR)); // Read buttons
		flagRotaryCW = false;
		flagRotaryCCW = false;
	    //Set buzzer to beep if one button is pressed.
		if (input)
		{
			buzzer[BUZZ_NUM] = 1;
			buzzer[BUZZ_DELAY] = 10;
		}

		if (tapChangerState == 0 || errorVar != 0)
		{
			// When in this state, we must call the state function
			nextState = pStateFunc(input);
			if(errorVar != 0)
				nextState = ST_ERRORS;
			if (nextState != state)
			{
				state = nextState;

				for (uint8_t n = 0; (j=StateMenu[n].state); n++)
				{
					if (j == state)
					{
						pStateFunc = StateMenu[n].pFunc;
						break;
					}
				}

			}
		}

    /* USER CODE END WHILE */

  }
}

void SystemClock_Config(void)
{
	MODIFY_REG(FLASH->ACR, FLASH_ACR_LATENCY, FLASH_ACR_LATENCY_1); /* Flash Latency config  */

	SET_BIT(RCC->CR, RCC_CR_HSEON); /* HSE ON  */
	while (!(READ_BIT(RCC->CR, RCC_CR_HSERDY) == (RCC_CR_HSERDY))) ; /* Wait for HSE ready  */

	//	SET_BIT(RCC->CSR, RCC_CSR_LSION); /* LSI ON  */
	//	while (!(READ_BIT(RCC->CSR, RCC_CSR_LSIRDY) == (RCC_CSR_LSIRDY))) ;/* Wait for LSI ready  */
	SET_BIT(RCC->APB1ENR, RCC_APB1ENR_PWREN);
	//	SET_BIT(PWR->CR, PWR_CR_DBP);
	//    SET_BIT(RCC->BDCR, RCC_BDCR_LSEON); /* LSE ON  */
	//	while (!(READ_BIT(RCC->BDCR, RCC_BDCR_LSERDY) == (RCC_BDCR_LSERDY))) ;/* Wait for LSE ready  */
	CLEAR_BIT(PWR->CR, PWR_CR_DBP);
	/* PLL Config  */
	MODIFY_REG(RCC->CFGR, RCC_CFGR_SW, RCC_CFGR_SWS_HSI); /* System clock source change for RCC_CFGR_PLLSRC Config  */
	CLEAR_BIT(RCC->CR, RCC_CR_PLLON); /* PLL Disable  */
	MODIFY_REG(RCC->CFGR, RCC_CFGR_PLLSRC | RCC_CFGR_PLLMUL, ((RCC_CFGR_PLLSRC_HSE_PREDIV | RCC_CFGR2_PREDIV_DIV1) & RCC_CFGR_PLLSRC) | RCC_CFGR_PLLMUL9);
	MODIFY_REG(RCC->CFGR2, RCC_CFGR2_PREDIV, ((RCC_CFGR_PLLSRC_HSE_PREDIV | RCC_CFGR2_PREDIV_DIV1) & RCC_CFGR2_PREDIV));

	SET_BIT(RCC->CR, RCC_CR_PLLON); /* PLL Enable  */

	while (!(READ_BIT(RCC->CR, RCC_CR_PLLRDY) == (RCC_CR_PLLRDY))) ;/* Wait for PLL ready  */

	MODIFY_REG(RCC->CFGR, RCC_CFGR_SW, RCC_CFGR_SW_PLL); /* System clock source PLL  */
	while (!(READ_BIT(RCC->CFGR, RCC_CFGR_SWS))) ;/* Wait for System clock switch status ready  */

	MODIFY_REG(RCC->CFGR, RCC_CFGR_HPRE, RCC_CFGR_HPRE_DIV1);
	MODIFY_REG(RCC->CFGR, RCC_CFGR_PPRE1, RCC_CFGR_PPRE1_DIV2);

	MODIFY_REG(RCC->CFGR, RCC_CFGR_PPRE2, RCC_CFGR_PPRE1_DIV1);
}

static void MX_I2C1_Init(void)
{

  hi2c1.Instance = I2C1;
  hi2c1.Init.Timing = 0x00101827;
  hi2c1.Init.OwnAddress1 = 0;
  hi2c1.Init.AddressingMode = I2C_ADDRESSINGMODE_7BIT;
  hi2c1.Init.DualAddressMode = I2C_DUALADDRESS_DISABLE;
  hi2c1.Init.OwnAddress2 = 0;
  hi2c1.Init.OwnAddress2Masks = I2C_OA2_NOMASK;
  hi2c1.Init.GeneralCallMode = I2C_GENERALCALL_DISABLE;
  hi2c1.Init.NoStretchMode = I2C_NOSTRETCH_DISABLE;
  if (HAL_I2C_Init(&hi2c1) != HAL_OK)
  {
    Error_Handler();
  }

  /** Configure Analogue filter
  */
  if (HAL_I2CEx_ConfigAnalogFilter(&hi2c1, I2C_ANALOGFILTER_ENABLE) != HAL_OK)
  {
    Error_Handler();
  }

  /** Configure Digital filter
  */
  if (HAL_I2CEx_ConfigDigitalFilter(&hi2c1, 5) != HAL_OK)
  {
    Error_Handler();
  }

}

static void MX_TIM1_Init(void)
{

  TIM_Encoder_InitTypeDef sConfig = {0};
  TIM_MasterConfigTypeDef sMasterConfig = {0};

  htim1.Instance = TIM1;
  htim1.Init.Prescaler = 0;
  htim1.Init.CounterMode = TIM_COUNTERMODE_UP;
  htim1.Init.Period = 65535;
  htim1.Init.ClockDivision = TIM_CLOCKDIVISION_DIV1;
  htim1.Init.RepetitionCounter = 0;
  htim1.Init.AutoReloadPreload = TIM_AUTORELOAD_PRELOAD_DISABLE;
  sConfig.EncoderMode = TIM_ENCODERMODE_TI12;
  sConfig.IC1Polarity = TIM_ICPOLARITY_FALLING;
  sConfig.IC1Selection = TIM_ICSELECTION_DIRECTTI;
  sConfig.IC1Prescaler = TIM_ICPSC_DIV1;
  sConfig.IC1Filter = 5;
  sConfig.IC2Polarity = TIM_ICPOLARITY_FALLING;
  sConfig.IC2Selection = TIM_ICSELECTION_DIRECTTI;
  sConfig.IC2Prescaler = TIM_ICPSC_DIV1;
  sConfig.IC2Filter = 5;
  if (HAL_TIM_Encoder_Init(&htim1, &sConfig) != HAL_OK)
  {
    Error_Handler();
  }
  sMasterConfig.MasterOutputTrigger = TIM_TRGO_RESET;
  sMasterConfig.MasterOutputTrigger2 = TIM_TRGO2_RESET;
  sMasterConfig.MasterSlaveMode = TIM_MASTERSLAVEMODE_DISABLE;
  if (HAL_TIMEx_MasterConfigSynchronization(&htim1, &sMasterConfig) != HAL_OK)
  {
    Error_Handler();
  }

}

static void MX_TIM3_Init(void)
{

  TIM_ClockConfigTypeDef sClockSourceConfig = {0};
  TIM_MasterConfigTypeDef sMasterConfig = {0};
  TIM_OC_InitTypeDef sConfigOC = {0};

  htim3.Instance = TIM3;
  htim3.Init.Prescaler = 7200-1;
  htim3.Init.CounterMode = TIM_COUNTERMODE_UP;
  htim3.Init.Period = 1000-1;
  htim3.Init.ClockDivision = TIM_CLOCKDIVISION_DIV1;
  htim3.Init.AutoReloadPreload = TIM_AUTORELOAD_PRELOAD_ENABLE;
  if (HAL_TIM_Base_Init(&htim3) != HAL_OK)
  {
    Error_Handler();
  }
  sClockSourceConfig.ClockSource = TIM_CLOCKSOURCE_INTERNAL;
  if (HAL_TIM_ConfigClockSource(&htim3, &sClockSourceConfig) != HAL_OK)
  {
    Error_Handler();
  }
  if (HAL_TIM_PWM_Init(&htim3) != HAL_OK)
  {
    Error_Handler();
  }
  sMasterConfig.MasterOutputTrigger = TIM_TRGO_RESET;
  sMasterConfig.MasterSlaveMode = TIM_MASTERSLAVEMODE_DISABLE;
  if (HAL_TIMEx_MasterConfigSynchronization(&htim3, &sMasterConfig) != HAL_OK)
  {
    Error_Handler();
  }
  sConfigOC.OCMode = TIM_OCMODE_PWM1;
  sConfigOC.Pulse = 0;
  sConfigOC.OCPolarity = TIM_OCPOLARITY_HIGH;
  sConfigOC.OCFastMode = TIM_OCFAST_DISABLE;
  if (HAL_TIM_PWM_ConfigChannel(&htim3, &sConfigOC, TIM_CHANNEL_1) != HAL_OK)
  {
    Error_Handler();
  }
  HAL_TIM_MspPostInit(&htim3);

}

static void MX_TIM7_Init(void)
{

  TIM_MasterConfigTypeDef sMasterConfig = {0};

  htim7.Instance = TIM7;
  htim7.Init.Prescaler = 72-1;
  htim7.Init.CounterMode = TIM_COUNTERMODE_UP;
  htim7.Init.Period = 1000-1;
  htim7.Init.AutoReloadPreload = TIM_AUTORELOAD_PRELOAD_ENABLE;
  if (HAL_TIM_Base_Init(&htim7) != HAL_OK)
  {
    Error_Handler();
  }
  sMasterConfig.MasterOutputTrigger = TIM_TRGO_RESET;
  sMasterConfig.MasterSlaveMode = TIM_MASTERSLAVEMODE_DISABLE;
  if (HAL_TIMEx_MasterConfigSynchronization(&htim7, &sMasterConfig) != HAL_OK)
  {
    Error_Handler();
  }

}

static void MX_GPIO_Init(void)
{
  GPIO_InitTypeDef GPIO_InitStruct = {0};

  /* GPIO Ports Clock Enable */
  __HAL_RCC_GPIOC_CLK_ENABLE();
  __HAL_RCC_GPIOF_CLK_ENABLE();
  __HAL_RCC_GPIOA_CLK_ENABLE();
  __HAL_RCC_GPIOB_CLK_ENABLE();
  __HAL_RCC_GPIOD_CLK_ENABLE();

  /*Configure GPIO pin Output Level */
  HAL_GPIO_WritePin(GPIOC, LCD_BKL_Pin|LCD4_Pin|LCD5_Pin|LCD6_Pin
                          |LCD7_Pin|LED1_Pin|LED2_Pin|LED3_Pin, GPIO_PIN_RESET);

  /*Configure GPIO pin Output Level */
  HAL_GPIO_WritePin(GPIOA, LCD_EN_Pin|LCD_RS_Pin|Madule_LED_Pin, GPIO_PIN_RESET);

  /*Configure GPIO pin Output Level */
  HAL_GPIO_WritePin(BUZZ_GPIO_Port, BUZZ_Pin, GPIO_PIN_RESET);

  /*Configure GPIO pin Output Level */
  HAL_GPIO_WritePin(LED4_GPIO_Port, LED4_Pin, GPIO_PIN_RESET);

  /*Configure GPIO pins : LCD_BKL_Pin LED1_Pin LED2_Pin LED3_Pin */
  GPIO_InitStruct.Pin = LCD_BKL_Pin|LED1_Pin|LED2_Pin|LED3_Pin;
  GPIO_InitStruct.Mode = GPIO_MODE_OUTPUT_PP;
  GPIO_InitStruct.Pull = GPIO_PULLDOWN;
  GPIO_InitStruct.Speed = GPIO_SPEED_FREQ_LOW;
  HAL_GPIO_Init(GPIOC, &GPIO_InitStruct);

  /*Configure GPIO pin : KEY6_Pin */
  GPIO_InitStruct.Pin = KEY6_Pin;
  GPIO_InitStruct.Mode = GPIO_MODE_INPUT;
  GPIO_InitStruct.Pull = GPIO_PULLUP;
  HAL_GPIO_Init(KEY6_GPIO_Port, &GPIO_InitStruct);

  /*Configure GPIO pins : LCD4_Pin LCD5_Pin LCD6_Pin LCD7_Pin */
  GPIO_InitStruct.Pin = LCD4_Pin|LCD5_Pin|LCD6_Pin|LCD7_Pin;
  GPIO_InitStruct.Mode = GPIO_MODE_OUTPUT_PP;
  GPIO_InitStruct.Pull = GPIO_NOPULL;
  GPIO_InitStruct.Speed = GPIO_SPEED_FREQ_LOW;
  HAL_GPIO_Init(GPIOC, &GPIO_InitStruct);

  /*Configure GPIO pins : LCD_EN_Pin LCD_RS_Pin */
  GPIO_InitStruct.Pin = LCD_EN_Pin|LCD_RS_Pin;
  GPIO_InitStruct.Mode = GPIO_MODE_OUTPUT_PP;
  GPIO_InitStruct.Pull = GPIO_NOPULL;
  GPIO_InitStruct.Speed = GPIO_SPEED_FREQ_LOW;
  HAL_GPIO_Init(GPIOA, &GPIO_InitStruct);

  /*Configure GPIO pin : BUZZ_Pin */
  GPIO_InitStruct.Pin = BUZZ_Pin;
  GPIO_InitStruct.Mode = GPIO_MODE_OUTPUT_PP;
  GPIO_InitStruct.Pull = GPIO_NOPULL;
  GPIO_InitStruct.Speed = GPIO_SPEED_FREQ_LOW;
  HAL_GPIO_Init(BUZZ_GPIO_Port, &GPIO_InitStruct);

  /*Configure GPIO pins : rotaryMiddle_Pin Key4_Pin Key5_Pin */
  GPIO_InitStruct.Pin = rotaryMiddle_Pin|Key4_Pin|Key5_Pin;
  GPIO_InitStruct.Mode = GPIO_MODE_INPUT;
  GPIO_InitStruct.Pull = GPIO_PULLUP;
  HAL_GPIO_Init(GPIOA, &GPIO_InitStruct);

  /*Configure GPIO pin : Madule_LED_Pin */
  GPIO_InitStruct.Pin = Madule_LED_Pin;
  GPIO_InitStruct.Mode = GPIO_MODE_OUTPUT_PP;
  GPIO_InitStruct.Pull = GPIO_PULLDOWN;
  GPIO_InitStruct.Speed = GPIO_SPEED_FREQ_LOW;
  HAL_GPIO_Init(Madule_LED_GPIO_Port, &GPIO_InitStruct);

  /*Configure GPIO pin : LED4_Pin */
  GPIO_InitStruct.Pin = LED4_Pin;
  GPIO_InitStruct.Mode = GPIO_MODE_OUTPUT_PP;
  GPIO_InitStruct.Pull = GPIO_PULLDOWN;
  GPIO_InitStruct.Speed = GPIO_SPEED_FREQ_LOW;
  HAL_GPIO_Init(LED4_GPIO_Port, &GPIO_InitStruct);

}

void HAL_TIM_PeriodElapsedCallback(TIM_HandleTypeDef *htim)
{

  /* USER CODE BEGIN Callback 1 */
  if (htim->Instance == TIM7) {
	volatile static uint32_t count1ms = 0;
	count1ms++;
	flag1ms = true;

	if ( (count1ms % 10) == 0 )
	{
		//if ( (count1ms % 10) == 0 )
		//{
			flag10ms = true;
			flcd10ms = true;
			flagADC10ms= true;
		//}
		if ( (count1ms % 100) == 0 )
		{
			flag100ms = true;
			flcd100ms = true;
			f2lcd100ms = true;
			fSlope100ms = true;
		}
		if ( (count1ms % 300) == 0 )
		{
			flag300ms = true;
			flcd300ms = true;
		}
		if ( (count1ms % 500) == 0 )
		{
			fLcdError500ms = true;
			flagRefreshValue500ms = true;
			flcd500ms = true;

		}
		if ( (count1ms % 1000) == 0 )
		{
			//flagZeroDetectEr1s = true;
			flag1s = true;
			flcd1s = true;
			fupdate1s = true;
		}
		/*if ( (count100us % StepRamp) == 0 )
		{
			flagCountRamp = true;
			CountRamp++;
		}*/
		if (count1ms == 10000)
		{
			//fErr2s = true;
			count1ms = 0;
		}
	}
	/*volatile static uint16_t count10ms = 0;
	count10ms++;

	flag10ms = true;
	flcd10ms = true;
	flagADC10ms= true;
	if ( (count10ms % 10) == 0 )
	{
		flag100ms = true;
		flcd100ms = true;
		f2lcd100ms = true;
		fSlope100ms = true;

		if ( (count10ms % 30) == 0 )
		{
			flag300ms = true;
			flcd300ms = true;
		}
		if ( (count10ms % 50) == 0 )
		{
			fLcdError500ms = true;
			flagRefreshValue500ms = true;
			flcd500ms = true;

		}
		if ( (count10ms % 100) == 0 )
		{
			//flagZeroDetectEr1s = true;
			flag1s = true;
			flcd1s = true;
			fupdate1s = true;
		}
		if ( (count10us % StepRamp) == 0 )
		{
			flagCountRamp = true;
			CountRamp++;
		}
		if (count10ms == 1000)
		{
			//fErr2s = true;
			count10ms = 0;
		}
	}*/
  }
  if (htim->Instance == TIM3 && flagUpdatePWM == true) {
	  if(StateVar[cursorLine].IndexMenu==Second_Menu_1)
	  {
		  Set_Frequency(Frequency);  //VA_FREQUENCY
		  Set_DutyCycle(Time_ON);  //VA_TIME
	  }
	  flagSetPWM = true;
	  flagUpdatePWM = false;
  }
  /* USER CODE END Callback 1 */
}

void Error_Handler(void)
{
  __disable_irq();
  while (1)
  {
  }
}
